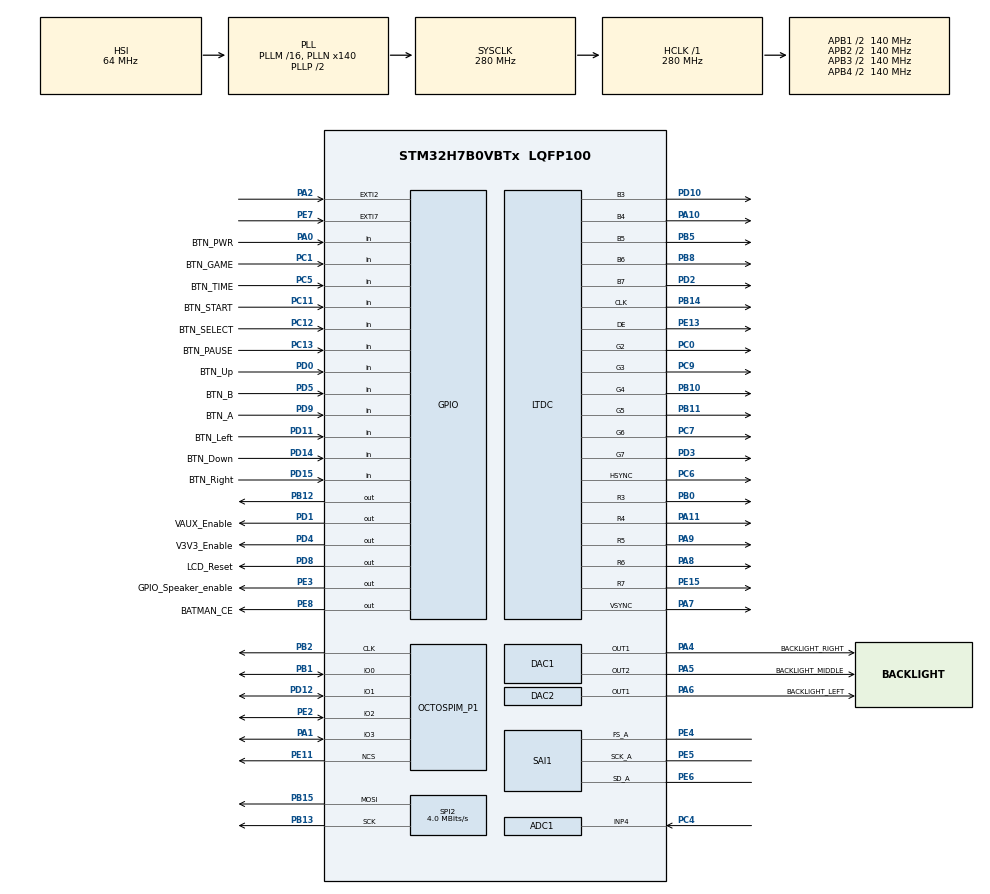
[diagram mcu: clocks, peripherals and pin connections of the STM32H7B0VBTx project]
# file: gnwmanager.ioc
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ADC1.Channel-1\#ChannelRegularConversion=ADC_CHANNEL_4
ADC1.NbrOfConversionFlag=1
ADC1.OffsetNumber-1\#ChannelRegularConversion=ADC_OFFSET_NONE
ADC1.OffsetSignedSaturation-1\#ChannelRegularConversion=DISABLE
ADC1.Rank-1\#ChannelRegularConversion=1
ADC1.SamplingTime-1\#ChannelRegularConversion=ADC_SAMPLETIME_1CYCLE_5
ADC1.master=1
CORTEX_M7.AccessPermission-Cortex_Memory_Protection_Unit_Region0_Settings=MPU_REGION_FULL_ACCESS
CORTEX_M7.AccessPermission-Cortex_Memory_Protection_Unit_Region1_Settings=MPU_REGION_FULL_ACCESS
CORTEX_M7.BaseAddress-Cortex_Memory_Protection_Unit_Region0_Settings=0x30000000
CORTEX_M7.BaseAddress-Cortex_Memory_Protection_Unit_Region1_Settings=0x24000000
CORTEX_M7.CPU_ICache=Disabled
CORTEX_M7.DisableExec-Cortex_Memory_Protection_Unit_Region0_Settings=MPU_INSTRUCTION_ACCESS_DISABLE
CORTEX_M7.DisableExec-Cortex_Memory_Protection_Unit_Region1_Settings=MPU_INSTRUCTION_ACCESS_DISABLE
CORTEX_M7.Enable-Cortex_Memory_Protection_Unit_Region0_Settings=MPU_REGION_ENABLE
CORTEX_M7.Enable-Cortex_Memory_Protection_Unit_Region1_Settings=MPU_REGION_ENABLE
CORTEX_M7.MPU_Control=MPU_HFNMI_PRIVDEF
CORTEX_M7.Size-Cortex_Memory_Protection_Unit_Region0_Settings=MPU_REGION_SIZE_128KB
CORTEX_M7.Size-Cortex_Memory_Protection_Unit_Region1_Settings=MPU_REGION_SIZE_512KB
DAC1.DAC_Channel-DAC_OUT2=DAC_CHANNEL_2
Dma.Request0=SAI1_A
Dma.SAI1_A.0.Direction=DMA_MEMORY_TO_PERIPH
Dma.SAI1_A.0.EventEnable=DISABLE
Dma.SAI1_A.0.FIFOMode=DMA_FIFOMODE_ENABLE
Dma.SAI1_A.0.FIFOThreshold=DMA_FIFO_THRESHOLD_FULL
Dma.SAI1_A.0.Instance=DMA1_Stream0
Dma.SAI1_A.0.MemBurst=DMA_MBURST_SINGLE
Dma.SAI1_A.0.MemDataAlignment=DMA_MDATAALIGN_HALFWORD
Dma.SAI1_A.0.MemInc=DMA_MINC_ENABLE
Dma.SAI1_A.0.Mode=DMA_CIRCULAR
Dma.SAI1_A.0.PeriphBurst=DMA_PBURST_SINGLE
Dma.SAI1_A.0.PeriphDataAlignment=DMA_PDATAALIGN_HALFWORD
Dma.SAI1_A.0.PeriphInc=DMA_PINC_DISABLE
Dma.SAI1_A.0.Polarity=HAL_DMAMUX_REQ_GEN_RISING
Dma.SAI1_A.0.Priority=DMA_PRIORITY_LOW
Dma.SAI1_A.0.RequestNumber=1
Dma.SAI1_A.0.SignalID=NONE
Dma.SAI1_A.0.SyncEnable=DISABLE
Dma.SAI1_A.0.SyncPolarity=HAL_DMAMUX_SYNC_NO_EVENT
Dma.SAI1_A.0.SyncRequestNumber=1
Dma.SAI1_A.0.SyncSignalID=NONE
HASH.SecureHashAlgorithmType=SHA256
HASH.pKey=__NULL
IWDG1.Prescaler=IWDG_PRESCALER_4
IWDG1.Reload=4095
LTDC.ActiveH=240
LTDC.ActiveW=320
LTDC.Alpha0_L0=255
LTDC.Alpha_L0=255
LTDC.FBStartAdress_L0=0x24000000
LTDC.Green_L0=255
LTDC.HBP=51
LTDC.HFP=12
LTDC.HSync=10
LTDC.ImageHeight_L0=240
LTDC.ImageWidth_L0=320
LTDC.Layers=0
LTDC.PCPolarity=LTDC_PCPOLARITY_IIPC
LTDC.PixelFormat_L0=LTDC_PIXEL_FORMAT_RGB565
LTDC.VBP=6
LTDC.VFP=8
LTDC.VSync=2
LTDC.WindowX1_L0=320
LTDC.WindowY1_L0=240
Mcu.Family=STM32H7
Mcu.Name=STM32H7B0VBTx
Mcu.Package=LQFP100
NVIC.ADC_IRQn=true\:0\:0\:false\:false\:true\:true\:true\:true
NVIC.DMA1_Stream0_IRQn=true\:0\:0\:false\:false\:true\:false\:true\:true
NVIC.EXTI2_IRQn=true\:0\:0\:false\:false\:true\:true\:true\:true
NVIC.EXTI9_5_IRQn=true\:0\:0\:false\:false\:true\:true\:true\:true
NVIC.LTDC_IRQn=true\:0\:0\:false\:false\:true\:true\:true\:true
NVIC.OCTOSPI1_IRQn=true\:0\:0\:false\:true\:true\:1\:true\:true\:true
NVIC.PriorityGroup=NVIC_PRIORITYGROUP_4
NVIC.SAI1_IRQn=true\:0\:0\:false\:false\:true\:true\:true\:true
NVIC.TIM1_UP_IRQn=true\:0\:0\:false\:false\:true\:true\:true\:true
OCTOSPI1.ChipSelectBoundary=0
OCTOSPI1.ChipSelectHighTime=2
OCTOSPI1.ClockMode=HAL_OSPI_CLOCK_MODE_0
OCTOSPI1.ClockPrescaler=1
OCTOSPI1.DeviceSize=28
OCTOSPI1.FifoThreshold=4
OCTOSPI1.FreeRunningClock=HAL_OSPI_FREERUNCLK_DISABLE
OCTOSPI1.MemoryType=HAL_OSPI_MEMTYPE_MACRONIX
PA0.GPIO_Label=BTN_PWR
PA0.Signal=GPIO_Input
PA1.Mode=OCTOSPI1_IOL_Port1L
PA1.Signal=OCTOSPIM_P1_IO3
PA10.Mode=RGB565
PA10.Signal=LTDC_B4
PA11.Mode=RGB565
PA11.Signal=LTDC_R4
PA2.GPIO_ModeDefaultEXTI=GPIO_MODE_IT_RISING_FALLING
PA2.Signal=GPXTI2
PA4.GPIO_Label=BACKLIGHT_RIGHT
PA4.Signal=COMP_DAC11_group
PA5.GPIO_Label=BACKLIGHT_MIDDLE
PA5.Signal=COMP_DAC12_group
PA6.GPIO_Label=BACKLIGHT_LEFT
PA6.Signal=COMP_DAC21_group
PA7.Mode=RGB565
PA7.Signal=LTDC_VSYNC
PA8.Mode=RGB565
PA8.Signal=LTDC_R6
PA9.Mode=RGB565
PA9.Signal=LTDC_R5
PB0.Mode=RGB565
PB0.Signal=LTDC_R3
PB1.Mode=OCTOSPI1_IOL_Port1L
PB1.Signal=OCTOSPIM_P1_IO0
PB10.Mode=RGB565
PB10.Signal=LTDC_G4
PB11.Mode=RGB565
PB11.Signal=LTDC_G5
PB12.PinState=GPIO_PIN_SET
PB12.Signal=GPIO_Output
PB13.Mode=TX_Only_Simplex_Unidirect_Master
PB13.Signal=SPI2_SCK
PB14.Mode=RGB565
PB14.Signal=LTDC_CLK
PB15.Mode=TX_Only_Simplex_Unidirect_Master
PB15.Signal=SPI2_MOSI
PB2.Mode=O1_P1_CLK
PB2.Signal=OCTOSPIM_P1_CLK
PB5.Mode=RGB565
PB5.Signal=LTDC_B5
PB8.Mode=RGB565
PB8.Signal=LTDC_B6
PC0.Mode=RGB565
PC0.Signal=LTDC_G2
PC1.GPIO_Label=BTN_GAME
PC1.GPIO_PuPd=GPIO_PULLUP
PC1.Signal=GPIO_Input
PC10.Signal=LTDC_R2
PC11.GPIO_Label=BTN_START
PC11.GPIO_PuPd=GPIO_PULLUP
PC11.Signal=GPIO_Input
PC12.GPIO_Label=BTN_SELECT
PC12.GPIO_PuPd=GPIO_PULLUP
PC12.Signal=GPIO_Input
PC13.GPIO_Label=BTN_PAUSE
PC13.GPIO_PuPd=GPIO_PULLUP
PC13.Signal=GPIO_Input
PC14-OSC32_IN.Mode=LSE-External-Oscillator
PC14-OSC32_IN.Signal=RCC_OSC32_IN
PC15-OSC32_OUT.Mode=LSE-External-Oscillator
PC15-OSC32_OUT.Signal=RCC_OSC32_OUT
PC4.Signal=ADCx_INP4
PC5.GPIO_Label=BTN_TIME
PC5.GPIO_PuPd=GPIO_PULLUP
PC5.Signal=GPIO_Input
PC6.Mode=RGB565
PC6.Signal=LTDC_HSYNC
PC7.Mode=RGB565
PC7.Signal=LTDC_G6
PC9.Mode=RGB565
PC9.Signal=LTDC_G3
PD0.GPIO_Label=BTN_Up
PD0.GPIO_PuPd=GPIO_PULLUP
PD0.Signal=GPIO_Input
PD1.GPIO_Label=VAUX_Enable
PD1.PinState=GPIO_PIN_SET
PD1.Signal=GPIO_Output
PD10.Mode=RGB565
PD10.Signal=LTDC_B3
PD11.GPIO_Label=BTN_Left
PD11.GPIO_PuPd=GPIO_PULLUP
PD11.Signal=GPIO_Input
PD12.Mode=OCTOSPI1_IOL_Port1L
PD12.Signal=OCTOSPIM_P1_IO1
PD14.GPIO_Label=BTN_Down
PD14.GPIO_PuPd=GPIO_PULLUP
PD14.Signal=GPIO_Input
PD15.GPIO_Label=BTN_Right
PD15.GPIO_PuPd=GPIO_PULLUP
PD15.Signal=GPIO_Input
PD2.Mode=RGB565
PD2.Signal=LTDC_B7
PD3.Mode=RGB565
PD3.Signal=LTDC_G7
PD4.GPIO_Label=V3V3_Enable
PD4.PinState=GPIO_PIN_RESET
PD4.Signal=GPIO_Output
PD5.GPIO_Label=BTN_B
PD5.GPIO_PuPd=GPIO_PULLUP
PD5.Signal=GPIO_Input
PD6.Signal=LTDC_B2
PD8.GPIO_Label=LCD_Reset
PD8.PinState=GPIO_PIN_RESET
PD8.Signal=GPIO_Output
PD9.GPIO_Label=BTN_A
PD9.GPIO_PuPd=GPIO_PULLUP
PD9.Signal=GPIO_Input
PE11.Mode=OCTOSPI1_Port1_NCS
PE11.Signal=OCTOSPIM_P1_NCS
PE13.Mode=RGB565
PE13.Signal=LTDC_DE
PE15.Mode=RGB565
PE15.Signal=LTDC_R7
PE2.Mode=OCTOSPI1_IOL_Port1L
PE2.Signal=OCTOSPIM_P1_IO2
PE3.GPIO_Label=GPIO_Speaker_enable
PE3.PinState=GPIO_PIN_SET
PE3.Signal=GPIO_Output
PE4.Mode=SAI_A_Master
PE4.Signal=SAI1_FS_A
PE5.Mode=SAI_A_Master
PE5.Signal=SAI1_SCK_A
PE6.Mode=SAI_A_Master
PE6.Signal=SAI1_SD_A
PE7.GPIO_ModeDefaultEXTI=GPIO_MODE_IT_RISING_FALLING
PE7.Signal=GPXTI7
PE8.GPIO_Label=BATMAN_CE
PE8.Signal=GPIO_Output
ProjectManager.HeapSize=0x200
ProjectManager.StackSize=0x400
ProjectManager.TargetToolchain=Makefile
RCC.ADCFreq_Value=98304000
RCC.APB1Freq_Value=140000000
RCC.APB2Freq_Value=140000000
RCC.APB3Freq_Value=140000000
RCC.APB4Freq_Value=140000000
RCC.CDPPRE=RCC_APB3_DIV2
RCC.CDPPRE1=RCC_APB1_DIV2
RCC.CDPPRE2=RCC_APB2_DIV2
RCC.CortexFreq_Value=280000000
RCC.DIVM1=16
RCC.DIVM2=25
RCC.DIVM3=4
RCC.DIVN1=140
RCC.DIVN2=192
RCC.DIVN3=9
RCC.DIVP2=5
RCC.DIVR2=5
RCC.DIVR3=24
RCC.HCLKFreq_Value=280000000
RCC.LSE_Drive_Capability=RCC_LSEDRIVE_HIGH
RCC.PLL3FRACN=0
RCC.QSPICLockSelection=RCC_OSPICLKSOURCE_CLKP
RCC.RCC_TIM_PRescaler_Selection=RCC_TIMPRES_ACTIVATED
RCC.RTCClockSelection=RCC_RTCCLKSOURCE_LSE
RCC.SAI1CLockSelection=RCC_SAI1CLKSOURCE_PLL2
RCC.SPI123CLockSelection=RCC_SPI123CLKSOURCE_CLKP
RCC.SRDPPRE=RCC_APB4_DIV2
RCC.SYSCLKFreq_VALUE=280000000
RCC.SYSCLKSource=RCC_SYSCLKSOURCE_PLLCLK
RCC.USBFreq_Value=280000000
RCC.VDD_VALUE=3.3
RTC.AsynchPrediv=127
RTC.SynchPrediv=255
SAI1.AudioFrequency-SAI_A_Master=SAI_AUDIO_FREQUENCY_48K
SAI1.ErrorAudioFreq-SAI_A_Master=0.0 %
SAI1.FIFOThreshold-SAI_A_Master=SAI_FIFOTHRESHOLD_FULL
SAI1.InitProtocol-SAI_A_Master=Enable
SAI1.Instance-SAI_A_Master=SAI$Index_Block_A
SAI1.MckOutput=SAI_MCK_OUTPUT_DISABLE
SAI1.MonoStereoMode-SAI_A_Master=SAI_MONOMODE
SAI1.RealAudioFreq-SAI_A_Master=48.0 KHz
SAI1.VirtualMode-SAI_A_Master=VM_MASTER
SAI1.VirtualProtocol-SAI_A_BASIC=VM_BASIC_PROTOCOL
SH.ADCx_INP4.0=ADC1_INP4,IN4-Single-Ended
SH.COMP_DAC11_group.0=DAC1_OUT1,DAC_OUT1
SH.COMP_DAC12_group.0=DAC1_OUT2,DAC_OUT2
SH.COMP_DAC21_group.0=DAC2_OUT1,DAC_OUT1
SPI2.BaudRatePrescaler=SPI_BAUDRATEPRESCALER_16
SPI2.CalculateBaudRate=4.0 MBits/s
SPI2.DataSize=SPI_DATASIZE_8BIT
SPI2.Direction=SPI_DIRECTION_2LINES_TXONLY
SPI2.Mode=SPI_MODE_MASTER
SPI2.NSSPMode=SPI_NSS_PULSE_DISABLE
SPI2.VirtualType=VM_MASTER
TIM1.Period=20000
TIM1.Prescaler=14000
TIM1.TIM_MasterSlaveMode=TIM_MASTERSLAVEMODE_DISABLE
VP_HASH_VS_HASH.Mode=HASH_Activate
VP_IWDG1_VS_IWDG.Mode=IWDG_Activate
VP_OCTOSPI1_VS_quad.Mode=quad_mode
VP_RCC_LSE.Mode=CRS SYNC Source LSE
VP_RTC_VS_RTC_Activate.Mode=RTC_Enabled
VP_RTC_VS_RTC_Calendar.Mode=RTC_Calendar
VP_SAI1_VP_$IpInstance_SAIA_SAI_BASIC.Mode=SAI_A_BASIC
VP_TIM1_VS_ClockSourceINT.Mode=Internal
board=custom

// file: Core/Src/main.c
/* USER CODE BEGIN Header */
/**
  ******************************************************************************
  * @file           : main.c
  * @brief          : Main program body
  ******************************************************************************
  * @attention
  *
  * <h2><center>&copy; Copyright (c) 2020 STMicroelectronics.
  * All rights reserved.</center></h2>
  *
  * This software component is licensed by ST under BSD 3-Clause license,
  * the "License"; You may not use this file except in compliance with the
  * License. You may obtain a copy of the License at:
  *                        opensource.org/licenses/BSD-3-Clause
  *
  ******************************************************************************
  */
/* USER CODE END Header */
#include "main.h"

/* USER CODE BEGIN Includes */
#include "buttons.h"
#include "flash.h"
#include "lcd.h"
#include <string.h>
#include <stdbool.h>
#include "flash.h"
#include "gnwmanager.h"
#include "gnwmanager_gui.h"
/* USER CODE END Includes */

#ifdef HAL_ADC_MODULE_ENABLED
ADC_HandleTypeDef hadc1;
#endif

#ifdef HAL_DAC_MODULE_ENABLED
DAC_HandleTypeDef hdac1;
DAC_HandleTypeDef hdac2;
#endif

IWDG_HandleTypeDef hiwdg1;
LTDC_HandleTypeDef hltdc;

OSPI_HandleTypeDef hospi1;

RTC_HandleTypeDef hrtc;

#ifdef HAL_SAI_MODULE_ENABLED
SAI_HandleTypeDef hsai_BlockA1;
DMA_HandleTypeDef hdma_sai1_a;
#endif

SPI_HandleTypeDef hspi1;
SPI_HandleTypeDef hspi2;

TIM_HandleTypeDef htim1;

HASH_HandleTypeDef hhash;

/* USER CODE BEGIN PV */
gnwmanager_sdcard_hw_t sdcard_hw = GNWMANAGER_SDCARD_HW_UNDETECTED;

/* USER CODE END PV */

void SystemClock_Config(void);
static void MPU_Config(void);
static void MX_GPIO_Init(void);
static void MX_DMA_Init(void);
static void MX_IWDG1_Init(void);
static void MX_LTDC_Init(void);
static void MX_SPI2_Init(void);
static void MX_OCTOSPI1_Init(void);
static void MX_HASH_Init(void);

#ifdef HAL_SAI_MODULE_ENABLED
static void MX_SAI1_Init(void);
#endif

static void MX_RTC_Init(void);
#ifdef HAL_DAC_MODULE_ENABLED
static void MX_DAC1_Init(void);
static void MX_DAC2_Init(void);
#endif

#ifdef HAL_ADC_MODULE_ENABLED
static void MX_ADC1_Init(void);
#endif

static void MX_TIM1_Init(void);
static void MX_NVIC_Init(void);

int main(void)
{

  /* MPU Configuration--------------------------------------------------------*/
  MPU_Config();

  /* MCU Configuration--------------------------------------------------------*/

  /* Reset of all peripherals, Initializes the Flash interface and the Systick. */
  HAL_Init();

  /* Configure the system clock */
  SystemClock_Config();

  /* Initialize all configured peripherals */
  MX_GPIO_Init();
  MX_DMA_Init();
  MX_IWDG1_Init();
  MX_LTDC_Init();
  MX_SPI2_Init();
  MX_OCTOSPI1_Init();
#ifdef HAL_SAI_MODULE_ENABLED
  MX_SAI1_Init();
#endif
  MX_RTC_Init();
#ifdef HAL_DAC_MODULE_ENABLED
  MX_DAC1_Init();
  MX_DAC2_Init();
#endif
#ifdef HAL_ADC_MODULE_ENABLED
  MX_ADC1_Init();
#endif
  MX_TIM1_Init();
  MX_HASH_Init();

  /* Initialize interrupts */
  MX_NVIC_Init();
  /* USER CODE BEGIN 2 */
  //lcd_init(&hspi2, &hltdc);
  //memset(framebuffer, 0xff, sizeof(framebuffer));

  lcd_deinit(&hspi2);

  // Keep this
  // at least 8 frames at the end of power down (lcd_deinit())
  // 4 x 50 ms => 200ms
  for (int i = 0; i < 4; i++) {
    wdog_refresh();
    HAL_Delay(50);
  }

  /* Power on LCD and external Flash */
  lcd_init(&hspi2, &hltdc);

  lcd_backlight_on();

  gui_fill(GUI_BACKGROUND_COLOR);
  gnwmanager_status_t status = GNWMANAGER_STATUS_IDLE;

  // Setup external-flash-chip-communications
  if(OSPI_Init(&hospi1)){
    status = GNWMANAGER_STATUS_BAD_FLASH_COMM;
  }
  /* USER CODE END 2 */

  /* Infinite loop */
  /* USER CODE BEGIN WHILE */
  while (1)
  {
    SCB_InvalidateICache();
    SCB_EnableICache();

    gnwmanager_main(status);
  }
    /* USER CODE END WHILE */

}

void SystemClock_Config(void)
{
  RCC_OscInitTypeDef RCC_OscInitStruct = {0};
  RCC_ClkInitTypeDef RCC_ClkInitStruct = {0};
  RCC_PeriphCLKInitTypeDef PeriphClkInitStruct = {0};
  RCC_CRSInitTypeDef RCC_CRSInitStruct = {0};

  /** Supply configuration update enable
  */
  HAL_PWREx_ConfigSupply(PWR_LDO_SUPPLY);
  /** Configure the main internal regulator output voltage
  */
  __HAL_PWR_VOLTAGESCALING_CONFIG(PWR_REGULATOR_VOLTAGE_SCALE0);

  while(!__HAL_PWR_GET_FLAG(PWR_FLAG_VOSRDY)) {}
  /** Configure LSE Drive Capability
  */
  HAL_PWR_EnableBkUpAccess();
  __HAL_RCC_LSEDRIVE_CONFIG(RCC_LSEDRIVE_HIGH);
  /** Macro to configure the PLL clock source
  */
  __HAL_RCC_PLL_PLLSOURCE_CONFIG(RCC_PLLSOURCE_HSI);
  /** Initializes the RCC Oscillators according to the specified parameters
  * in the RCC_OscInitTypeDef structure.
  */
  RCC_OscInitStruct.OscillatorType = RCC_OSCILLATORTYPE_HSI|RCC_OSCILLATORTYPE_LSI
                              |RCC_OSCILLATORTYPE_LSE;
  RCC_OscInitStruct.LSEState = RCC_LSE_ON;
  RCC_OscInitStruct.HSIState = RCC_HSI_DIV1;
  RCC_OscInitStruct.HSICalibrationValue = RCC_HSICALIBRATION_DEFAULT;
  RCC_OscInitStruct.LSIState = RCC_LSI_ON;
  RCC_OscInitStruct.PLL.PLLState = RCC_PLL_ON;
  RCC_OscInitStruct.PLL.PLLSource = RCC_PLLSOURCE_HSI;
  RCC_OscInitStruct.PLL.PLLM = 16;
  RCC_OscInitStruct.PLL.PLLN = 140;
  RCC_OscInitStruct.PLL.PLLP = 2;
  RCC_OscInitStruct.PLL.PLLQ = 2;
  RCC_OscInitStruct.PLL.PLLR = 2;
  RCC_OscInitStruct.PLL.PLLRGE = RCC_PLL1VCIRANGE_2;
  RCC_OscInitStruct.PLL.PLLVCOSEL = RCC_PLL1VCOWIDE;
  RCC_OscInitStruct.PLL.PLLFRACN = 0;
  if (HAL_RCC_OscConfig(&RCC_OscInitStruct) != HAL_OK)
  {
    Error_Handler();
  }
  /** Initializes the CPU, AHB and APB buses clocks
  */
  RCC_ClkInitStruct.ClockType = RCC_CLOCKTYPE_HCLK|RCC_CLOCKTYPE_SYSCLK
                              |RCC_CLOCKTYPE_PCLK1|RCC_CLOCKTYPE_PCLK2
                              |RCC_CLOCKTYPE_D3PCLK1|RCC_CLOCKTYPE_D1PCLK1;
  RCC_ClkInitStruct.SYSCLKSource = RCC_SYSCLKSOURCE_PLLCLK;
  RCC_ClkInitStruct.SYSCLKDivider = RCC_SYSCLK_DIV1;
  RCC_ClkInitStruct.AHBCLKDivider = RCC_HCLK_DIV1;
  RCC_ClkInitStruct.APB3CLKDivider = RCC_APB3_DIV2;
  RCC_ClkInitStruct.APB1CLKDivider = RCC_APB1_DIV2;
  RCC_ClkInitStruct.APB2CLKDivider = RCC_APB2_DIV2;
  RCC_ClkInitStruct.APB4CLKDivider = RCC_APB4_DIV2;

  if (HAL_RCC_ClockConfig(&RCC_ClkInitStruct, FLASH_LATENCY_7) != HAL_OK)
  {
    Error_Handler();
  }
  PeriphClkInitStruct.PeriphClockSelection = RCC_PERIPHCLK_RTC|RCC_PERIPHCLK_LTDC
                              |RCC_PERIPHCLK_SPI2
#ifdef HAL_SAI_MODULE_ENABLED
                              |RCC_PERIPHCLK_SAI1
#endif
#ifdef HAL_ADC_MODULE_ENABLED
                              |RCC_PERIPHCLK_ADC
#endif
                              |RCC_PERIPHCLK_OSPI
                              |RCC_PERIPHCLK_CKPER;
  PeriphClkInitStruct.PLL2.PLL2M = 25;
  PeriphClkInitStruct.PLL2.PLL2N = 192;
  PeriphClkInitStruct.PLL2.PLL2P = 5;
  PeriphClkInitStruct.PLL2.PLL2Q = 2;
  PeriphClkInitStruct.PLL2.PLL2R = 5;
  PeriphClkInitStruct.PLL2.PLL2RGE = RCC_PLL2VCIRANGE_1;
  PeriphClkInitStruct.PLL2.PLL2VCOSEL = RCC_PLL2VCOWIDE;
  PeriphClkInitStruct.PLL2.PLL2FRACN = 0;
  PeriphClkInitStruct.PLL3.PLL3M = 4;
  PeriphClkInitStruct.PLL3.PLL3N = 9;
  PeriphClkInitStruct.PLL3.PLL3P = 2;
  PeriphClkInitStruct.PLL3.PLL3Q = 2;
  PeriphClkInitStruct.PLL3.PLL3R = 24;
  PeriphClkInitStruct.PLL3.PLL3RGE = RCC_PLL3VCIRANGE_3;
  PeriphClkInitStruct.PLL3.PLL3VCOSEL = RCC_PLL3VCOWIDE;
  PeriphClkInitStruct.PLL3.PLL3FRACN = 0;
  PeriphClkInitStruct.OspiClockSelection = RCC_OSPICLKSOURCE_CLKP;
  PeriphClkInitStruct.CkperClockSelection = RCC_CLKPSOURCE_HSI;
#ifdef HAL_SAI_MODULE_ENABLED
  PeriphClkInitStruct.Sai1ClockSelection = RCC_SAI1CLKSOURCE_PLL2;
#endif
  PeriphClkInitStruct.Spi123ClockSelection = RCC_SPI123CLKSOURCE_CLKP;
#ifdef HAL_ADC_MODULE_ENABLED
  PeriphClkInitStruct.AdcClockSelection = RCC_ADCCLKSOURCE_PLL2;
#endif
  PeriphClkInitStruct.RTCClockSelection = RCC_RTCCLKSOURCE_LSE;
  PeriphClkInitStruct.TIMPresSelection = RCC_TIMPRES_ACTIVATED;

  if (HAL_RCCEx_PeriphCLKConfig(&PeriphClkInitStruct) != HAL_OK)
  {
    Error_Handler();
  }
  /** Enable the SYSCFG APB clock
  */
  __HAL_RCC_CRS_CLK_ENABLE();
  /** Configures CRS
  */
  RCC_CRSInitStruct.Prescaler = RCC_CRS_SYNC_DIV1;
  RCC_CRSInitStruct.Source = RCC_CRS_SYNC_SOURCE_LSE;
  RCC_CRSInitStruct.Polarity = RCC_CRS_SYNC_POLARITY_RISING;
  RCC_CRSInitStruct.ReloadValue = __HAL_RCC_CRS_RELOADVALUE_CALCULATE(48000000,32768);
  RCC_CRSInitStruct.ErrorLimitValue = 34;
  RCC_CRSInitStruct.HSI48CalibrationValue = 32;

  HAL_RCCEx_CRSConfig(&RCC_CRSInitStruct);
}

/**
  * @brief NVIC Configuration.
  * @retval None
  */
static void MX_NVIC_Init(void)
{
  /* OCTOSPI1_IRQn interrupt configuration */
  HAL_NVIC_SetPriority(OCTOSPI1_IRQn, 0, 0);
  HAL_NVIC_EnableIRQ(OCTOSPI1_IRQn);
}

#ifdef HAL_ADC_MODULE_ENABLED
static void MX_ADC1_Init(void)
{

  ADC_MultiModeTypeDef multimode = {0};
  ADC_ChannelConfTypeDef sConfig = {0};

  /** Common config
  */
  hadc1.Instance = ADC1;
  hadc1.Init.ClockPrescaler = ADC_CLOCK_ASYNC_DIV1;
  hadc1.Init.Resolution = ADC_RESOLUTION_16B;
  hadc1.Init.ScanConvMode = ADC_SCAN_DISABLE;
  hadc1.Init.EOCSelection = ADC_EOC_SINGLE_CONV;
  hadc1.Init.LowPowerAutoWait = DISABLE;
  hadc1.Init.ContinuousConvMode = DISABLE;
  hadc1.Init.NbrOfConversion = 1;
  hadc1.Init.DiscontinuousConvMode = DISABLE;
  hadc1.Init.ExternalTrigConv = ADC_SOFTWARE_START;
  hadc1.Init.ExternalTrigConvEdge = ADC_EXTERNALTRIGCONVEDGE_NONE;
  hadc1.Init.ConversionDataManagement = ADC_CONVERSIONDATA_DR;
  hadc1.Init.Overrun = ADC_OVR_DATA_PRESERVED;
  hadc1.Init.LeftBitShift = ADC_LEFTBITSHIFT_NONE;
  hadc1.Init.OversamplingMode = DISABLE;
  if (HAL_ADC_Init(&hadc1) != HAL_OK)
  {
    Error_Handler();
  }
  /** Configure the ADC multi-mode
  */
  multimode.Mode = ADC_MODE_INDEPENDENT;
  if (HAL_ADCEx_MultiModeConfigChannel(&hadc1, &multimode) != HAL_OK)
  {
    Error_Handler();
  }
  /** Configure Regular Channel
  */
  sConfig.Channel = ADC_CHANNEL_4;
  sConfig.Rank = ADC_REGULAR_RANK_1;
  sConfig.SamplingTime = ADC_SAMPLETIME_1CYCLE_5;
  sConfig.SingleDiff = ADC_SINGLE_ENDED;
  sConfig.OffsetNumber = ADC_OFFSET_NONE;
  sConfig.Offset = 0;
  sConfig.OffsetSignedSaturation = DISABLE;
  if (HAL_ADC_ConfigChannel(&hadc1, &sConfig) != HAL_OK)
  {
    Error_Handler();
  }

}
#endif

#ifdef HAL_DAC_MODULE_ENABLED
static void MX_DAC1_Init(void)
{

  DAC_ChannelConfTypeDef sConfig = {0};

  /** DAC Initialization
  */
  hdac1.Instance = DAC1;
  if (HAL_DAC_Init(&hdac1) != HAL_OK)
  {
    Error_Handler();
  }
  /** DAC channel OUT1 config
  */
  sConfig.DAC_SampleAndHold = DAC_SAMPLEANDHOLD_DISABLE;
  sConfig.DAC_Trigger = DAC_TRIGGER_NONE;
  sConfig.DAC_OutputBuffer = DAC_OUTPUTBUFFER_ENABLE;
  sConfig.DAC_ConnectOnChipPeripheral = DAC_CHIPCONNECT_DISABLE;
  sConfig.DAC_UserTrimming = DAC_TRIMMING_FACTORY;
  if (HAL_DAC_ConfigChannel(&hdac1, &sConfig, DAC_CHANNEL_1) != HAL_OK)
  {
    Error_Handler();
  }
  /** DAC channel OUT2 config
  */
  sConfig.DAC_ConnectOnChipPeripheral = DAC_CHIPCONNECT_DISABLE;
  if (HAL_DAC_ConfigChannel(&hdac1, &sConfig, DAC_CHANNEL_2) != HAL_OK)
  {
    Error_Handler();
  }

}

static void MX_DAC2_Init(void)
{

  DAC_ChannelConfTypeDef sConfig = {0};

  /** DAC Initialization
  */
  hdac2.Instance = DAC2;
  if (HAL_DAC_Init(&hdac2) != HAL_OK)
  {
    Error_Handler();
  }
  /** DAC channel OUT1 config
  */
  sConfig.DAC_SampleAndHold = DAC_SAMPLEANDHOLD_DISABLE;
  sConfig.DAC_Trigger = DAC_TRIGGER_NONE;
  sConfig.DAC_OutputBuffer = DAC_OUTPUTBUFFER_ENABLE;
  sConfig.DAC_ConnectOnChipPeripheral = DAC_CHIPCONNECT_DISABLE;
  sConfig.DAC_UserTrimming = DAC_TRIMMING_FACTORY;
  if (HAL_DAC_ConfigChannel(&hdac2, &sConfig, DAC_CHANNEL_1) != HAL_OK)
  {
    Error_Handler();
  }

}
#endif

static void MX_HASH_Init(void)
{

  hhash.Init.DataType = HASH_DATATYPE_8B;
  if (HAL_HASH_Init(&hhash) != HAL_OK)
  {
    Error_Handler();
  }

}

static void MX_IWDG1_Init(void)
{

  hiwdg1.Instance = IWDG1;
  hiwdg1.Init.Prescaler = IWDG_PRESCALER_4;
  hiwdg1.Init.Window = 4095;
  hiwdg1.Init.Reload = 4095;
  if (HAL_IWDG_Init(&hiwdg1) != HAL_OK)
  {
    Error_Handler();
  }

}

static void MX_LTDC_Init(void)
{

  LTDC_LayerCfgTypeDef pLayerCfg = {0};

  hltdc.Instance = LTDC;
  hltdc.Init.HSPolarity = LTDC_HSPOLARITY_AL;
  hltdc.Init.VSPolarity = LTDC_VSPOLARITY_AL;
  hltdc.Init.DEPolarity = LTDC_DEPOLARITY_AL;
  hltdc.Init.PCPolarity = LTDC_PCPOLARITY_IIPC;
  hltdc.Init.HorizontalSync = 9;
  hltdc.Init.VerticalSync = 1;
  hltdc.Init.AccumulatedHBP = 60;
  hltdc.Init.AccumulatedVBP = 7;
  hltdc.Init.AccumulatedActiveW = 380;
  hltdc.Init.AccumulatedActiveH = 247;
  hltdc.Init.TotalWidth = 392;
  hltdc.Init.TotalHeigh = 255;
  hltdc.Init.Backcolor.Blue = 0;
  hltdc.Init.Backcolor.Green = 0;
  hltdc.Init.Backcolor.Red = 0;
  if (HAL_LTDC_Init(&hltdc) != HAL_OK)
  {
    Error_Handler();
  }
  pLayerCfg.WindowX0 = 0;
  pLayerCfg.WindowX1 = 320;
  pLayerCfg.WindowY0 = 0;
  pLayerCfg.WindowY1 = 240;
  pLayerCfg.PixelFormat = LTDC_PIXEL_FORMAT_RGB565;
  pLayerCfg.Alpha = 255;
  pLayerCfg.Alpha0 = 255;
  pLayerCfg.BlendingFactor1 = LTDC_BLENDING_FACTOR1_CA;
  pLayerCfg.BlendingFactor2 = LTDC_BLENDING_FACTOR2_CA;
  pLayerCfg.FBStartAdress = 0x24000000;
  pLayerCfg.ImageWidth = 320;
  pLayerCfg.ImageHeight = 240;
  pLayerCfg.Backcolor.Blue = 0;
  pLayerCfg.Backcolor.Green = 255;
  pLayerCfg.Backcolor.Red = 0;
  if (HAL_LTDC_ConfigLayer(&hltdc, &pLayerCfg, 0) != HAL_OK)
  {
    Error_Handler();
  }

}

static void MX_OCTOSPI1_Init(void)
{

  OSPIM_CfgTypeDef sOspiManagerCfg = {0};

  /* OCTOSPI1 parameter configuration*/
  hospi1.Instance = OCTOSPI1;
  hospi1.Init.FifoThreshold = 4;
  hospi1.Init.DualQuad = HAL_OSPI_DUALQUAD_DISABLE;
  hospi1.Init.MemoryType = HAL_OSPI_MEMTYPE_MACRONIX;
  hospi1.Init.DeviceSize = 28;
  hospi1.Init.ChipSelectHighTime = 2;
  hospi1.Init.FreeRunningClock = HAL_OSPI_FREERUNCLK_DISABLE;
  hospi1.Init.ClockMode = HAL_OSPI_CLOCK_MODE_0;
  hospi1.Init.WrapSize = HAL_OSPI_WRAP_NOT_SUPPORTED;
  hospi1.Init.ClockPrescaler = 1;
  hospi1.Init.SampleShifting = HAL_OSPI_SAMPLE_SHIFTING_NONE;
  hospi1.Init.DelayHoldQuarterCycle = HAL_OSPI_DHQC_DISABLE;
  hospi1.Init.ChipSelectBoundary = 0;
  hospi1.Init.ClkChipSelectHighTime = 0;
  hospi1.Init.DelayBlockBypass = HAL_OSPI_DELAY_BLOCK_BYPASSED;
  hospi1.Init.MaxTran = 0;
  hospi1.Init.Refresh = 0;
  if (HAL_OSPI_Init(&hospi1) != HAL_OK)
  {
    Error_Handler();
  }
  sOspiManagerCfg.ClkPort = 1;
  sOspiManagerCfg.NCSPort = 1;
  sOspiManagerCfg.IOLowPort = HAL_OSPIM_IOPORT_1_LOW;
  if (HAL_OSPIM_Config(&hospi1, &sOspiManagerCfg, HAL_OSPI_TIMEOUT_DEFAULT_VALUE) != HAL_OK)
  {
    Error_Handler();
  }

}

static void MX_RTC_Init(void)
{

  RTC_TimeTypeDef sTime = {0};
  RTC_DateTypeDef sDate = {0};

  /** Initialize RTC Only
  */
  hrtc.Instance = RTC;
  hrtc.Init.HourFormat = RTC_HOURFORMAT_24;
  hrtc.Init.AsynchPrediv = 127;
  hrtc.Init.SynchPrediv = 255;
  hrtc.Init.OutPut = RTC_OUTPUT_DISABLE;
  hrtc.Init.OutPutPolarity = RTC_OUTPUT_POLARITY_HIGH;
  hrtc.Init.OutPutType = RTC_OUTPUT_TYPE_OPENDRAIN;
  hrtc.Init.OutPutRemap = RTC_OUTPUT_REMAP_NONE;
  if (HAL_RTC_Init(&hrtc) != HAL_OK)
  {
    Error_Handler();
  }

  /* USER CODE BEGIN Check_RTC_BKUP */
  return; // Retain RTC values on boot
  /* USER CODE END Check_RTC_BKUP */

  /** Initialize RTC and set the Time and Date
  */
  sTime.Hours = 0x0;
  sTime.Minutes = 0x0;
  sTime.Seconds = 0x0;
  sTime.DayLightSaving = RTC_DAYLIGHTSAVING_NONE;
  sTime.StoreOperation = RTC_STOREOPERATION_RESET;
  if (HAL_RTC_SetTime(&hrtc, &sTime, RTC_FORMAT_BCD) != HAL_OK)
  {
    Error_Handler();
  }
  sDate.WeekDay = RTC_WEEKDAY_MONDAY;
  sDate.Month = RTC_MONTH_JANUARY;
  sDate.Date = 0x1;
  sDate.Year = 0x0;

  if (HAL_RTC_SetDate(&hrtc, &sDate, RTC_FORMAT_BCD) != HAL_OK)
  {
    Error_Handler();
  }

}

#ifdef HAL_SAI_MODULE_ENABLED
static void MX_SAI1_Init(void)
{

  hsai_BlockA1.Instance = SAI1_Block_A;
  hsai_BlockA1.Init.AudioMode = SAI_MODEMASTER_TX;
  hsai_BlockA1.Init.Synchro = SAI_ASYNCHRONOUS;
  hsai_BlockA1.Init.OutputDrive = SAI_OUTPUTDRIVE_DISABLE;
  hsai_BlockA1.Init.NoDivider = SAI_MASTERDIVIDER_ENABLE;
  hsai_BlockA1.Init.FIFOThreshold = SAI_FIFOTHRESHOLD_FULL;
  hsai_BlockA1.Init.AudioFrequency = SAI_AUDIO_FREQUENCY_48K;
  hsai_BlockA1.Init.SynchroExt = SAI_SYNCEXT_DISABLE;
  hsai_BlockA1.Init.MonoStereoMode = SAI_MONOMODE;
  hsai_BlockA1.Init.CompandingMode = SAI_NOCOMPANDING;
  hsai_BlockA1.Init.TriState = SAI_OUTPUT_NOTRELEASED;
  if (HAL_SAI_InitProtocol(&hsai_BlockA1, SAI_I2S_STANDARD, SAI_PROTOCOL_DATASIZE_16BIT, 2) != HAL_OK)
  {
    Error_Handler();
  }

}
#endif

void MX_SPI1_Init(void)
{

  /* SPI1 parameter configuration*/
  hspi1.Instance = SPI1;
  hspi1.Init.Mode = SPI_MODE_MASTER;
  hspi1.Init.Direction = SPI_DIRECTION_2LINES;
  hspi1.Init.DataSize = SPI_DATASIZE_8BIT;
  hspi1.Init.CLKPolarity = SPI_POLARITY_LOW;
  hspi1.Init.CLKPhase = SPI_PHASE_1EDGE;
  hspi1.Init.NSS = SPI_NSS_SOFT;
  hspi1.Init.BaudRatePrescaler = SPI_BAUDRATEPRESCALER_256;
  hspi1.Init.FirstBit = SPI_FIRSTBIT_MSB;
  hspi1.Init.TIMode = SPI_TIMODE_DISABLE;
  hspi1.Init.CRCCalculation = SPI_CRCCALCULATION_DISABLE;
  hspi1.Init.CRCPolynomial = 0;
  hspi1.Init.NSSPMode = SPI_NSS_PULSE_DISABLE;
  hspi1.Init.NSSPolarity = SPI_NSS_POLARITY_LOW;
  hspi1.Init.FifoThreshold = SPI_FIFO_THRESHOLD_01DATA;
  hspi1.Init.TxCRCInitializationPattern = SPI_CRC_INITIALIZATION_ALL_ZERO_PATTERN;
  hspi1.Init.RxCRCInitializationPattern = SPI_CRC_INITIALIZATION_ALL_ZERO_PATTERN;
  hspi1.Init.MasterSSIdleness = SPI_MASTER_SS_IDLENESS_00CYCLE;
  hspi1.Init.MasterInterDataIdleness = SPI_MASTER_INTERDATA_IDLENESS_00CYCLE;
  hspi1.Init.MasterReceiverAutoSusp = SPI_MASTER_RX_AUTOSUSP_DISABLE;
  hspi1.Init.MasterKeepIOState = SPI_MASTER_KEEP_IO_STATE_DISABLE;
  hspi1.Init.IOSwap = SPI_IO_SWAP_DISABLE;
  if (HAL_SPI_Init(&hspi1) != HAL_OK)
  {
    Error_Handler();
  }

}

static void MX_SPI2_Init(void)
{

  /* SPI2 parameter configuration*/
  hspi2.Instance = SPI2;
  hspi2.Init.Mode = SPI_MODE_MASTER;
  hspi2.Init.Direction = SPI_DIRECTION_2LINES_TXONLY;
  hspi2.Init.DataSize = SPI_DATASIZE_8BIT;
  hspi2.Init.CLKPolarity = SPI_POLARITY_LOW;
  hspi2.Init.CLKPhase = SPI_PHASE_1EDGE;
  hspi2.Init.NSS = SPI_NSS_SOFT;
  hspi2.Init.BaudRatePrescaler = SPI_BAUDRATEPRESCALER_16;
  hspi2.Init.FirstBit = SPI_FIRSTBIT_MSB;
  hspi2.Init.TIMode = SPI_TIMODE_DISABLE;
  hspi2.Init.CRCCalculation = SPI_CRCCALCULATION_DISABLE;
  hspi2.Init.CRCPolynomial = 0x0;
  hspi2.Init.NSSPMode = SPI_NSS_PULSE_DISABLE;
  hspi2.Init.NSSPolarity = SPI_NSS_POLARITY_LOW;
  hspi2.Init.FifoThreshold = SPI_FIFO_THRESHOLD_01DATA;
  hspi2.Init.TxCRCInitializationPattern = SPI_CRC_INITIALIZATION_ALL_ZERO_PATTERN;
  hspi2.Init.RxCRCInitializationPattern = SPI_CRC_INITIALIZATION_ALL_ZERO_PATTERN;
  hspi2.Init.MasterSSIdleness = SPI_MASTER_SS_IDLENESS_00CYCLE;
  hspi2.Init.MasterInterDataIdleness = SPI_MASTER_INTERDATA_IDLENESS_00CYCLE;
  hspi2.Init.MasterReceiverAutoSusp = SPI_MASTER_RX_AUTOSUSP_DISABLE;
  hspi2.Init.MasterKeepIOState = SPI_MASTER_KEEP_IO_STATE_DISABLE;
  hspi2.Init.IOSwap = SPI_IO_SWAP_DISABLE;
  if (HAL_SPI_Init(&hspi2) != HAL_OK)
  {
    Error_Handler();
  }

}

static void MX_TIM1_Init(void)
{

  TIM_ClockConfigTypeDef sClockSourceConfig = {0};
  TIM_MasterConfigTypeDef sMasterConfig = {0};

  htim1.Instance = TIM1;
  htim1.Init.Prescaler = 14000;
  htim1.Init.CounterMode = TIM_COUNTERMODE_UP;
  htim1.Init.Period = 20000;
  htim1.Init.ClockDivision = TIM_CLOCKDIVISION_DIV1;
  htim1.Init.RepetitionCounter = 0;
  htim1.Init.AutoReloadPreload = TIM_AUTORELOAD_PRELOAD_DISABLE;
  if (HAL_TIM_Base_Init(&htim1) != HAL_OK)
  {
    Error_Handler();
  }
  sClockSourceConfig.ClockSource = TIM_CLOCKSOURCE_INTERNAL;
  if (HAL_TIM_ConfigClockSource(&htim1, &sClockSourceConfig) != HAL_OK)
  {
    Error_Handler();
  }
  sMasterConfig.MasterOutputTrigger = TIM_TRGO_RESET;
  sMasterConfig.MasterOutputTrigger2 = TIM_TRGO2_RESET;
  sMasterConfig.MasterSlaveMode = TIM_MASTERSLAVEMODE_DISABLE;
  if (HAL_TIMEx_MasterConfigSynchronization(&htim1, &sMasterConfig) != HAL_OK)
  {
    Error_Handler();
  }

}

static void MX_DMA_Init(void)
{

  /* DMA controller clock enable */
  __HAL_RCC_DMA1_CLK_ENABLE();

  /* DMA interrupt init */
  /* DMA1_Stream0_IRQn interrupt configuration */
  HAL_NVIC_SetPriority(DMA1_Stream0_IRQn, 0, 0);
  HAL_NVIC_EnableIRQ(DMA1_Stream0_IRQn);

}

static void MX_GPIO_Init(void)
{
  GPIO_InitTypeDef GPIO_InitStruct = {0};

  /* GPIO Ports Clock Enable */
  __HAL_RCC_GPIOE_CLK_ENABLE();
  __HAL_RCC_GPIOC_CLK_ENABLE();
  __HAL_RCC_GPIOA_CLK_ENABLE();
  __HAL_RCC_GPIOB_CLK_ENABLE();
  __HAL_RCC_GPIOD_CLK_ENABLE();

  /*Configure GPIO pin Output Level */
  HAL_GPIO_WritePin(GPIO_Speaker_enable_GPIO_Port, GPIO_Speaker_enable_Pin, GPIO_PIN_SET);

  /*Configure GPIO pin Output Level */
  HAL_GPIO_WritePin(BATMAN_CE_GPIO_Port, BATMAN_CE_Pin, GPIO_PIN_RESET);

  /*Configure GPIO pin Output Level */
  HAL_GPIO_WritePin(GPIOB, GPIO_PIN_12, GPIO_PIN_SET);

  /*Configure GPIO pin Output Level */
  HAL_GPIO_WritePin(GPIOD, LCD_Reset_Pin|V3V3_Enable_Pin, GPIO_PIN_RESET);

  /*Configure GPIO pin Output Level */
  HAL_GPIO_WritePin(VAUX_Enable_GPIO_Port, VAUX_Enable_Pin, GPIO_PIN_SET);

  /*Configure GPIO pins : GPIO_Speaker_enable_Pin BATMAN_CE_Pin */
  GPIO_InitStruct.Pin = GPIO_Speaker_enable_Pin|BATMAN_CE_Pin;
  GPIO_InitStruct.Mode = GPIO_MODE_OUTPUT_PP;
  GPIO_InitStruct.Pull = GPIO_NOPULL;
  GPIO_InitStruct.Speed = GPIO_SPEED_FREQ_LOW;
  HAL_GPIO_Init(GPIOE, &GPIO_InitStruct);

  /*Configure GPIO pins : BTN_PAUSE_Pin BTN_GAME_Pin BTN_TIME_Pin BTN_START_Pin
                           BTN_SELECT_Pin */
  GPIO_InitStruct.Pin = BTN_PAUSE_Pin|BTN_GAME_Pin|BTN_TIME_Pin|BTN_START_Pin
                          |BTN_SELECT_Pin;
  GPIO_InitStruct.Mode = GPIO_MODE_INPUT;
  GPIO_InitStruct.Pull = GPIO_PULLUP;
  HAL_GPIO_Init(GPIOC, &GPIO_InitStruct);

  /*Configure GPIO pin : BTN_PWR_Pin */
  GPIO_InitStruct.Pin = BTN_PWR_Pin;
  GPIO_InitStruct.Mode = GPIO_MODE_INPUT;
  GPIO_InitStruct.Pull = GPIO_NOPULL;
  HAL_GPIO_Init(BTN_PWR_GPIO_Port, &GPIO_InitStruct);

  /*Configure GPIO pin : PA2 */
  GPIO_InitStruct.Pin = GPIO_PIN_2;
  GPIO_InitStruct.Mode = GPIO_MODE_IT_RISING_FALLING;
  GPIO_InitStruct.Pull = GPIO_NOPULL;
  HAL_GPIO_Init(GPIOA, &GPIO_InitStruct);

  /*Configure GPIO pin : PE7 */
  GPIO_InitStruct.Pin = GPIO_PIN_7;
  GPIO_InitStruct.Mode = GPIO_MODE_IT_RISING_FALLING;
  GPIO_InitStruct.Pull = GPIO_NOPULL;
  HAL_GPIO_Init(GPIOE, &GPIO_InitStruct);

  /*Configure GPIO pin : PB12 */
  GPIO_InitStruct.Pin = GPIO_PIN_12;
  GPIO_InitStruct.Mode = GPIO_MODE_OUTPUT_PP;
  GPIO_InitStruct.Pull = GPIO_NOPULL;
  GPIO_InitStruct.Speed = GPIO_SPEED_FREQ_LOW;
  HAL_GPIO_Init(GPIOB, &GPIO_InitStruct);

  /*Configure GPIO pins : LCD_Reset_Pin VAUX_Enable_Pin V3V3_Enable_Pin */
  GPIO_InitStruct.Pin = LCD_Reset_Pin|VAUX_Enable_Pin|V3V3_Enable_Pin;
  GPIO_InitStruct.Mode = GPIO_MODE_OUTPUT_PP;
  GPIO_InitStruct.Pull = GPIO_NOPULL;
  GPIO_InitStruct.Speed = GPIO_SPEED_FREQ_LOW;
  HAL_GPIO_Init(GPIOD, &GPIO_InitStruct);

  /*Configure GPIO pins : BTN_A_Pin BTN_Left_Pin BTN_Down_Pin BTN_Right_Pin
                           BTN_Up_Pin BTN_B_Pin */
  GPIO_InitStruct.Pin = BTN_A_Pin|BTN_Left_Pin|BTN_Down_Pin|BTN_Right_Pin
                          |BTN_Up_Pin|BTN_B_Pin;
  GPIO_InitStruct.Mode = GPIO_MODE_INPUT;
  GPIO_InitStruct.Pull = GPIO_PULLUP;
  HAL_GPIO_Init(GPIOD, &GPIO_InitStruct);

#ifndef HAL_DAC_MODULE_ENABLED
  /*Configure GPIO pins : PA4 PA5 PA6 (Backlight LEDs)*/
  GPIO_InitStruct.Pin = GPIO_PIN_4|GPIO_PIN_5|GPIO_PIN_6;
  GPIO_InitStruct.Mode = GPIO_MODE_OUTPUT_PP;
  GPIO_InitStruct.Pull = GPIO_NOPULL;
  GPIO_InitStruct.Speed = GPIO_SPEED_FREQ_LOW;
  HAL_GPIO_Init(GPIOA, &GPIO_InitStruct);
#endif

  /* EXTI interrupt init*/
  HAL_NVIC_SetPriority(EXTI2_IRQn, 0, 0);
  HAL_NVIC_EnableIRQ(EXTI2_IRQn);

  HAL_NVIC_SetPriority(EXTI9_5_IRQn, 0, 0);
  HAL_NVIC_EnableIRQ(EXTI9_5_IRQn);

}

/* USER CODE BEGIN 4 */
void wdog_refresh()
{
    HAL_IWDG_Refresh(&hiwdg1);
}
/* USER CODE END 4 */

/* MPU Configuration */

void MPU_Config(void)
{
  MPU_Region_InitTypeDef MPU_InitStruct = {0};

  /* Disables the MPU */
  HAL_MPU_Disable();
  /** Initializes and configures the Region and the memory to be protected
  */
  MPU_InitStruct.Enable = MPU_REGION_ENABLE;
  MPU_InitStruct.Number = MPU_REGION_NUMBER0;
  MPU_InitStruct.BaseAddress = 0x30000000;
  MPU_InitStruct.Size = MPU_REGION_SIZE_128KB;
  MPU_InitStruct.SubRegionDisable = 0x0;
  MPU_InitStruct.TypeExtField = MPU_TEX_LEVEL0;
  MPU_InitStruct.AccessPermission = MPU_REGION_FULL_ACCESS;
  MPU_InitStruct.DisableExec = MPU_INSTRUCTION_ACCESS_DISABLE;
  MPU_InitStruct.IsShareable = MPU_ACCESS_NOT_SHAREABLE;
  MPU_InitStruct.IsCacheable = MPU_ACCESS_NOT_CACHEABLE;
  MPU_InitStruct.IsBufferable = MPU_ACCESS_NOT_BUFFERABLE;

  HAL_MPU_ConfigRegion(&MPU_InitStruct);
  /** Initializes and configures the Region and the memory to be protected
  */
  MPU_InitStruct.Enable = MPU_REGION_ENABLE;
  MPU_InitStruct.Number = MPU_REGION_NUMBER1;
  MPU_InitStruct.BaseAddress = 0x24000000;
  MPU_InitStruct.Size = MPU_REGION_SIZE_1MB;
  MPU_InitStruct.SubRegionDisable = 0x0;
  MPU_InitStruct.TypeExtField = MPU_TEX_LEVEL0;
  MPU_InitStruct.AccessPermission = MPU_REGION_FULL_ACCESS;
  MPU_InitStruct.DisableExec = MPU_INSTRUCTION_ACCESS_ENABLE;
  MPU_InitStruct.IsShareable = MPU_ACCESS_NOT_SHAREABLE;
  MPU_InitStruct.IsCacheable = MPU_ACCESS_NOT_CACHEABLE;
  MPU_InitStruct.IsBufferable = MPU_ACCESS_NOT_BUFFERABLE;

  HAL_MPU_ConfigRegion(&MPU_InitStruct);
  /* Enables the MPU */
  HAL_MPU_Enable(MPU_HFNMI_PRIVDEF);

}

void Error_Handler(void)
{
  /* USER CODE BEGIN Error_Handler_Debug */
  /* User can add his own implementation to report the HAL error return state */
  gnwmanager_set_status(GNWMANAGER_STATUS_BAD_SEGFAULT);

  volatile int i = 1;  // Prevents optimizer from optimizing out infinite loop.
  while(i) {
    wdog_refresh();
  }
  /* USER CODE END Error_Handler_Debug */
}

// Override newlib's __assert_func so failed assert()s don't drag the entire
// nano-vfprintf chain (~1.5KB) into the firmware via fiprintf(stderr,...).
// Args are dropped because stderr writes go nowhere on this device anyway.
void __assert_func(const char *file, int line, const char *func, const char *failedexpr)
{
  (void)file; (void)line; (void)func; (void)failedexpr;
  Error_Handler();
}

void HAL_Delay(uint32_t Delay)
{
  while (Delay--) {
    // Accurate at 48MHz sysclock
    for (volatile int i = 0; i < 2 * 48000 / 3; i++) {
      __NOP();
    }
  }
}

/************************ (C) COPYRIGHT STMicroelectronics *****END OF FILE****/
